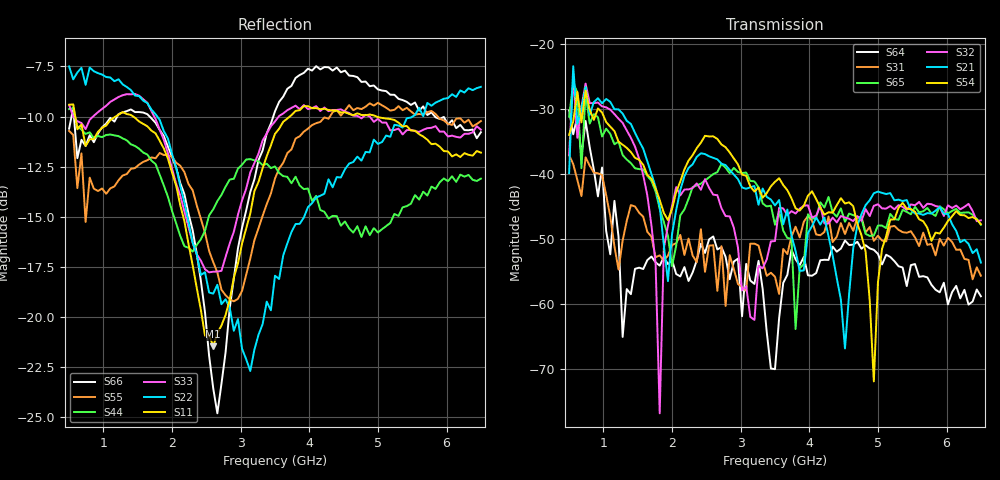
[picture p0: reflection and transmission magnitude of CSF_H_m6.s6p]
!Keysight Technologies,M9804A,MY58100912,A.14.10.03
!Date: Thursday, April 27, 2023 10:28:33
!Correction: S11(C  6-Port  )
!S12(C  6-Port  )
!S13(C  6-Port  )
!S14(C  6-Port  )
!S15(C  6-Port  )
!S16(C  6-Port  )
!S21(C  6-Port  )
!S22(C  6-Port  )
!S23(C  6-Port  )
!S24(C  6-Port  )
!S25(C  6-Port  )
!S26(C  6-Port  )
!S31(C  6-Port  )
!S32(C  6-Port  )
!S33(C  6-Port  )
!S34(C  6-Port  )
!S35(C  6-Port  )
!S36(C  6-Port  )
!S41(C  6-Port  )
!S42(C  6-Port  )
!S43(C  6-Port  )
!S44(C  6-Port  )
!S45(C  6-Port  )
!S46(C  6-Port  )
!S51(C  6-Port  )
!S52(C  6-Port  )
!S53(C  6-Port  )
!S54(C  6-Port  )
!S55(C  6-Port  )
!S56(C  6-Port  )
!S61(C  6-Port  )
!S62(C  6-Port  )
!S63(C  6-Port  )
!S64(C  6-Port  )
!S65(C  6-Port  )
!S66(C  6-Port  )
!S6P File: Measurement: :
# Hz S  RI  R 50
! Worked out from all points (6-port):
!   101 points, 500 MHz to 6.5 GHz, reference 50 ohm
!   strongest paths, dB at 500 MHz, 2 GHz, 3.5 GHz, 5 GHz, 6.5 GHz:
!     S54: -34.0, -45.4, -41.2, -56.7, -47.7
!     S21: -39.9, -49.2, -44.9, -42.7, -53.6
!     S32: -37.1, -44.9, -50.3, -44.7, -47.1
!     S65: -31.2, -54.2, -47.8, -47.9, -47.8
!     S31: -37.1, -51.0, -55.8, -49.5, -55.7
!     S64: -30.2, -53.3, -70.0, -52.3, -58.8
!   lowest |S11| = -21.5 dB at 2.6 GHz (marker M1), VSWR 1.18, Z = 42.5 + j2.16 ohm
!   |S11| at or under -10 dB: 589.3 MHz to 1.176 GHz (587.2 MHz wide, 66.5 % of centre); 1.434 GHz to 3.715 GHz (2.281 GHz wide, 88.6 % of centre); 4.98 GHz to end of sweep
